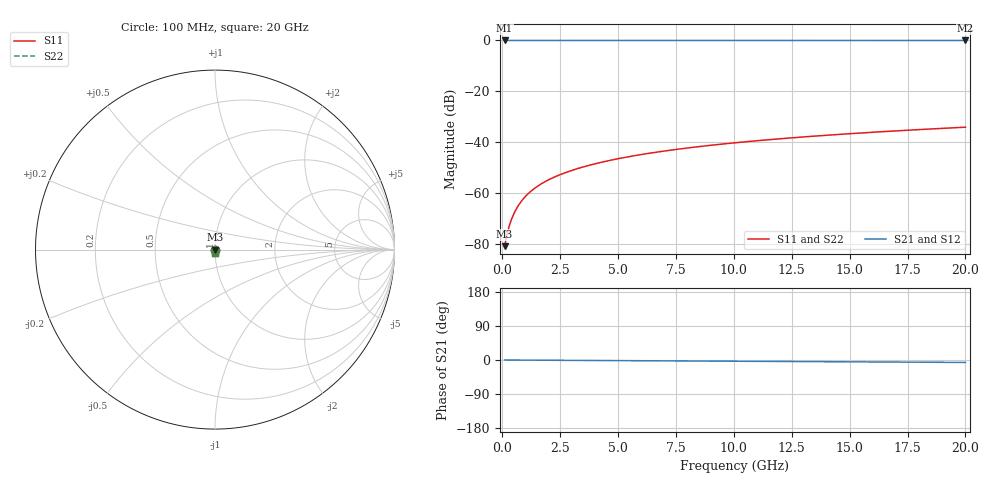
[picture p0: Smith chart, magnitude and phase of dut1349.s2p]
! Touchstone file exported from HFSS 2026.1.0
!  File:  C:/ffzhzh/LocalFiles/Ansys_Project_Files/temp_train_TSV_1349_1783195786_43440.aedt
!  Generated:  04:11:01 AM Jul  5, 2026
!  Design:  TSV
!  Project:  temp_train_TSV_1349_1783195786_43440
! Variables:
!  h_bsmrdl = 2um
!  h_ox = 20um
!  h_rdl = 5um
!  h_sub = 60.97um
!  h_tmrdl = 5um
!  h_tsv = 60.97um
!  h_via = 3um
!  l_bsmrdl = 300um
!  l_sub = 429.52um
!  l_tmrdl = 200um
!  m_sub = 200um
!  pitch = 49.62um
!  r_tsv = 14.76um
!  s_tmrdl = 10um
!  w_bsmrdl = 18um
!  w_sub = 500um
!  w_tmrdl = 12um
!  x_tsv_center1 = 206um
!  x_tsv_center2 = 524um
!  x_tsv_center3 = 736um
!  x_tsv_center4 = 1054um
!  x_tsv_center5 = 1266um
!  x_tsv_center6 = 1584um
# GHz S MA R 50.000000
! Terminal data exported
! Port[1] = TSV1_1_T1
! Port[2] = TSV1_1_T2
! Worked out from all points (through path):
!   200 points, 100 MHz to 20 GHz, reference 50 ohm
!   highest |S21| = 0.00 dB at 100 MHz (marker M1); lowest = 0.0 dB at 20 GHz (marker M2)
!   lowest |S11| = -80.9 dB at 100 MHz (marker M3), VSWR 1.00, Z = 50 - j0.00653 ohm
!   |S11| at or under -10 dB: start of sweep to end of sweep
!   |S22| runs from -80.9 to -34.1 dB; largest |S21 - S12| = 3.3e-15
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0.1  8.997e-05 -46.5  0.9999 -0.0  0.9999 -0.0  8.997e-05 -46.5
! Gamma 0 0 0 0
! Port Impedance 50 0 50 0
0.3  0.000225 -66.9  0.9999 -0.1  0.9999 -0.1  0.000225 -66.9
0.4  0.0003051 -69.6  0.9999 -0.1  0.9999 -0.1  0.0003051 -69.6
0.5  0.0003905 -71.4  0.9999 -0.2  0.9999 -0.2  0.0003905 -71.4
0.6  0.0004799 -72.8  0.9999 -0.2  0.9999 -0.2  0.0004799 -72.8
0.8  0.0006659 -75.1  0.9998 -0.3  0.9998 -0.3  0.0006659 -75.1
0.9  0.0007608 -76.1  0.9998 -0.3  0.9998 -0.3  0.0007608 -76.1
1.1  0.0009524 -77.7  0.9998 -0.4  0.9998 -0.4  0.0009524 -77.7
1.3  0.001145 -79.1  0.9998 -0.4  0.9998 -0.4  0.001145 -79.1
1.5  0.001337 -80.2  0.9998 -0.5  0.9998 -0.5  0.001337 -80.2
1.8  0.001625 -81.5  0.9997 -0.6  0.9997 -0.6  0.001625 -81.5
2.1  0.001914 -82.5  0.9997 -0.7  0.9997 -0.7  0.001914 -82.5
2.7  0.00249 -83.9  0.9997 -0.9  0.9997 -0.9  0.00249 -83.9
3.5  0.003262 -85.2  0.9997 -1.1  0.9997 -1.1  0.003262 -85.2
4.2  0.003941 -86.0  0.9996 -1.4  0.9996 -1.4  0.003941 -86.0
5  0.004722 -86.7  0.9996 -1.6  0.9996 -1.6  0.004722 -86.7
6.8  0.006493 -88.0  0.9995 -2.2  0.9995 -2.2  0.006493 -88.0
8.3  0.007979 -88.9  0.9994 -2.7  0.9994 -2.7  0.007979 -88.9
10.1  0.009768 -89.8  0.9994 -3.3  0.9994 -3.3  0.009768 -89.8
13.4  0.01306 -91.4  0.9992 -4.3  0.9992 -4.3  0.01306 -91.4
16.7  0.01636 -92.8  0.9991 -5.4  0.9991 -5.4  0.01636 -92.8
20  0.01967 -94.0  0.999 -6.4  0.999 -6.4  0.01967 -94.0
